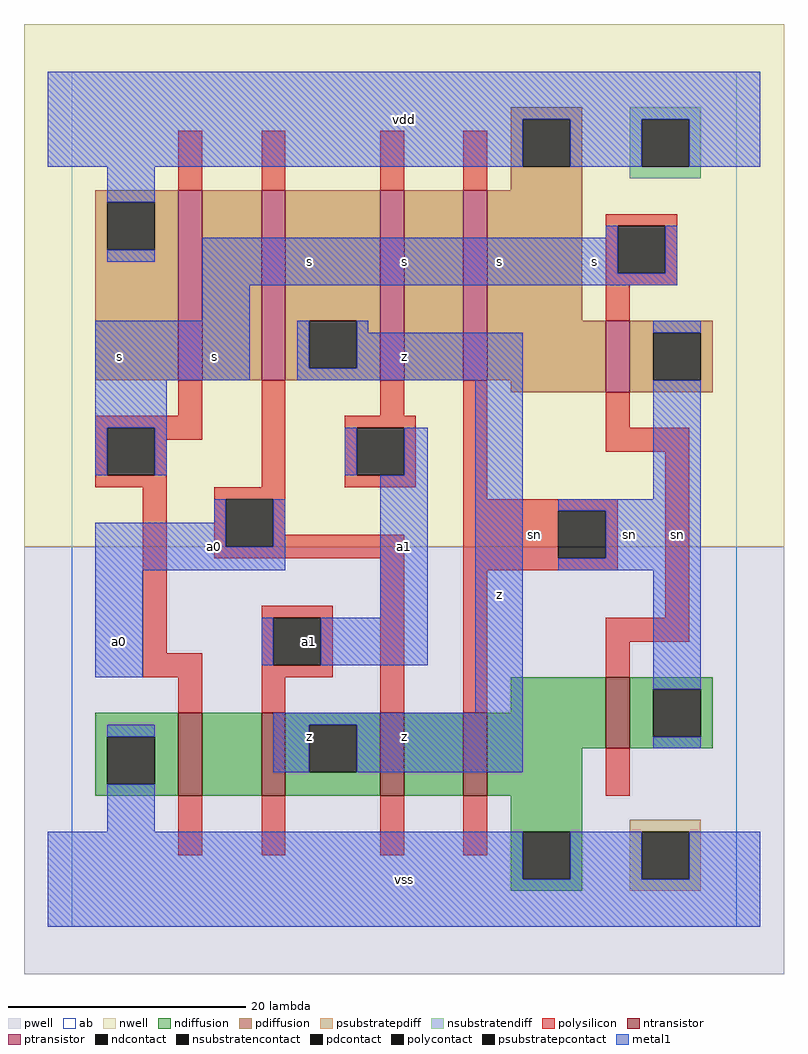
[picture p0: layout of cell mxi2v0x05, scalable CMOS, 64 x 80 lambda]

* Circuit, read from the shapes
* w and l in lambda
.subckt mxi2v0x05 a0 a1 s sn vdd vss z
M1 n1 s vss vss nfet w=7 l=2
M2 z a1 n1 vss nfet w=7 l=2
M3 n2 a0 z vss nfet w=7 l=2
M4 vss sn n2 vss nfet w=7 l=2
M5 sn s vss vss nfet w=6 l=2
M6 n3 s vdd vdd pfet w=16 l=2
M7 z a0 n3 vdd pfet w=16 l=2
M8 n4 a1 z vdd pfet w=16 l=2
M9 vdd sn n4 vdd pfet w=16 l=2
M10 sn s vdd vdd pfet w=6 l=2
.ends

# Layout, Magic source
magic
tech scmos
<< ab >>
rect 0 0 56 72
<< pwell >>
rect -4 -4 60 32
<< nwell >>
rect -4 32 60 76
<< polysilicon >>
rect 9 62 11 67
rect 16 62 18 67
rect 26 62 28 67
rect 33 62 35 67
rect 45 59 51 60
rect 45 55 46 59
rect 50 55 51 59
rect 45 54 51 55
rect 45 51 47 54
rect 9 43 11 46
rect 2 42 11 43
rect 2 38 3 42
rect 7 41 11 42
rect 7 38 8 41
rect 2 37 8 38
rect 16 37 18 46
rect 26 43 28 46
rect 23 42 29 43
rect 23 38 24 42
rect 28 38 29 42
rect 23 37 29 38
rect 6 23 8 37
rect 12 36 18 37
rect 12 32 13 36
rect 17 33 18 36
rect 33 36 35 46
rect 45 42 47 45
rect 45 40 52 42
rect 33 35 46 36
rect 17 32 28 33
rect 12 31 28 32
rect 16 26 22 27
rect 6 21 11 23
rect 9 18 11 21
rect 16 22 17 26
rect 21 22 22 26
rect 16 21 22 22
rect 16 18 18 21
rect 26 18 28 31
rect 33 31 41 35
rect 45 31 46 35
rect 33 30 46 31
rect 33 18 35 30
rect 50 26 52 40
rect 45 24 52 26
rect 45 21 47 24
rect 45 11 47 15
rect 9 6 11 11
rect 16 6 18 11
rect 26 6 28 11
rect 33 6 35 11
<< ndiffusion >>
rect 37 18 45 21
rect 2 16 9 18
rect 2 12 3 16
rect 7 12 9 16
rect 2 11 9 12
rect 11 11 16 18
rect 18 17 26 18
rect 18 13 20 17
rect 24 13 26 17
rect 18 11 26 13
rect 28 11 33 18
rect 35 15 45 18
rect 47 20 54 21
rect 47 16 49 20
rect 53 16 54 20
rect 47 15 54 16
rect 35 11 43 15
rect 37 8 43 11
rect 37 4 38 8
rect 42 4 43 8
rect 37 3 43 4
<< pdiffusion >>
rect 37 68 43 69
rect 37 64 38 68
rect 42 64 43 68
rect 37 62 43 64
rect 2 61 9 62
rect 2 57 3 61
rect 7 57 9 61
rect 2 46 9 57
rect 11 46 16 62
rect 18 51 26 62
rect 18 47 20 51
rect 24 47 26 51
rect 18 46 26 47
rect 28 46 33 62
rect 35 51 43 62
rect 35 46 45 51
rect 37 45 45 46
rect 47 50 54 51
rect 47 46 49 50
rect 53 46 54 50
rect 47 45 54 46
<< metal1 >>
rect -2 68 58 72
rect -2 64 38 68
rect 42 64 48 68
rect 52 64 58 68
rect 3 61 7 64
rect 45 58 46 59
rect 3 56 7 57
rect 11 55 46 58
rect 50 55 51 59
rect 11 54 51 55
rect 11 51 15 54
rect 2 46 15 51
rect 19 47 20 51
rect 24 50 25 51
rect 49 50 53 51
rect 24 47 38 50
rect 19 46 38 47
rect 2 42 8 46
rect 2 38 3 42
rect 7 38 8 42
rect 23 38 24 42
rect 28 38 30 42
rect 12 34 13 36
rect 2 32 13 34
rect 17 32 18 36
rect 2 30 18 32
rect 2 21 6 30
rect 26 26 30 38
rect 16 22 17 26
rect 21 22 30 26
rect 34 18 38 46
rect 49 36 53 46
rect 41 35 53 36
rect 45 31 53 35
rect 41 30 53 31
rect 17 17 38 18
rect 3 16 7 17
rect 17 13 20 17
rect 24 13 38 17
rect 49 20 53 30
rect 49 15 53 16
rect 3 8 7 12
rect -2 4 38 8
rect 42 4 48 8
rect 52 4 58 8
rect -2 0 58 4
<< ntransistor >>
rect 9 11 11 18
rect 16 11 18 18
rect 26 11 28 18
rect 33 11 35 18
rect 45 15 47 21
<< ptransistor >>
rect 9 46 11 62
rect 16 46 18 62
rect 26 46 28 62
rect 33 46 35 62
rect 45 45 47 51
<< polycontact >>
rect 46 55 50 59
rect 3 38 7 42
rect 24 38 28 42
rect 13 32 17 36
rect 17 22 21 26
rect 41 31 45 35
<< ndcontact >>
rect 3 12 7 16
rect 20 13 24 17
rect 49 16 53 20
rect 38 4 42 8
<< pdcontact >>
rect 38 64 42 68
rect 3 57 7 61
rect 20 47 24 51
rect 49 46 53 50
<< psubstratepcontact >>
rect 48 4 52 8
<< nsubstratencontact >>
rect 48 64 52 68
<< psubstratepdiff >>
rect 47 8 53 9
rect 47 4 48 8
rect 52 4 53 8
rect 47 3 53 4
<< nsubstratendiff >>
rect 47 68 53 69
rect 47 64 48 68
rect 52 64 53 68
rect 47 63 53 64
<< labels >>
rlabel polysilicon 39 33 39 33 6 sn
rlabel metal1 4 24 4 24 6 a0
rlabel metal1 4 48 4 48 6 s
rlabel metal1 20 16 20 16 6 z
rlabel metal1 12 32 12 32 6 a0
rlabel polycontact 20 24 20 24 6 a1
rlabel metal1 12 48 12 48 6 s
rlabel metal1 20 56 20 56 6 s
rlabel metal1 28 4 28 4 6 vss
rlabel metal1 28 16 28 16 6 z
rlabel metal1 28 32 28 32 6 a1
rlabel metal1 36 28 36 28 6 z
rlabel metal1 28 48 28 48 6 z
rlabel metal1 36 56 36 56 6 s
rlabel metal1 28 56 28 56 6 s
rlabel metal1 28 68 28 68 6 vdd
rlabel metal1 47 33 47 33 6 sn
rlabel metal1 51 33 51 33 6 sn
rlabel metal1 44 56 44 56 6 s
<< end >>
